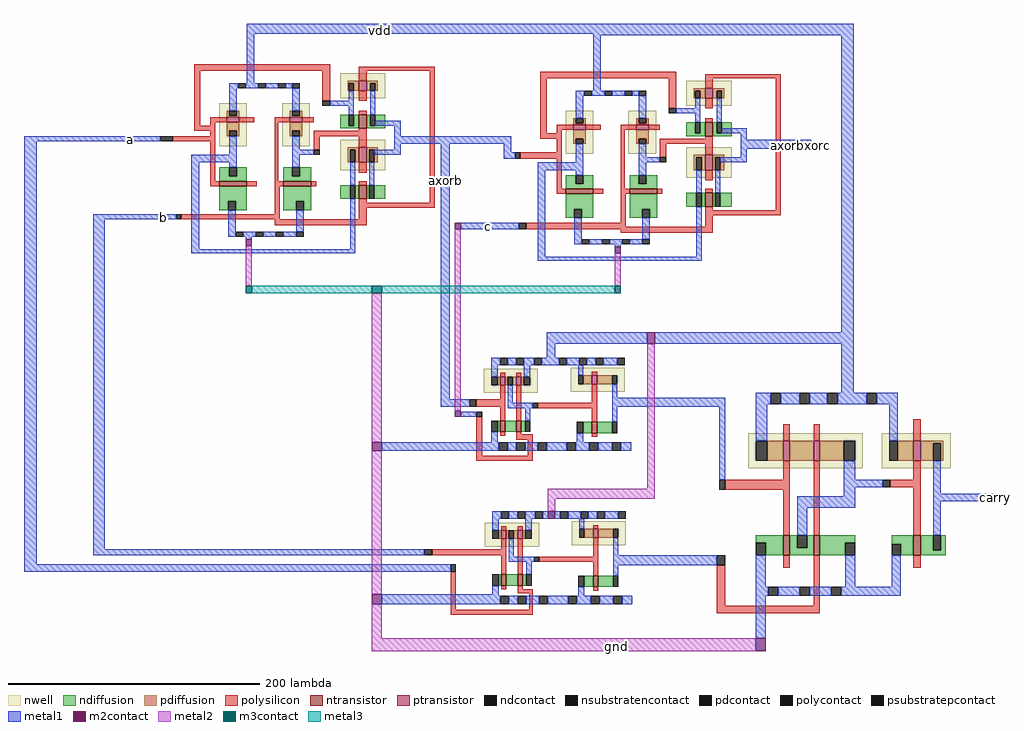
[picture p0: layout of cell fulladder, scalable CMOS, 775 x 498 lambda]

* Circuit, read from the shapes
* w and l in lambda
.subckt fulladder a axorb axorbxorc b c carry gnd vdd
M1 XOR_0/abar a gnd gnd nfet w=22 l=4
M2 XOR_0/bbar b gnd gnd nfet w=22 l=4
M3 axorb b XOR_0/abar gnd nfet w=11 l=6
M4 axorb XOR_0/bbar a gnd nfet w=11 l=6
M5 n1 axorb gnd gnd nfet w=9 l=4
M6 n2 b gnd gnd nfet w=9 l=4
M7 n3 c n1 gnd nfet w=9 l=4
M8 n4 a n2 gnd nfet w=9 l=4
M9 XOR_1/abar axorb gnd gnd nfet w=22 l=4
M10 or_0/a n3 gnd gnd nfet w=9 l=4
M11 or_0/b n4 gnd gnd nfet w=9 l=4
M12 XOR_1/bbar c gnd gnd nfet w=22 l=4
M13 axorbxorc c XOR_1/abar gnd nfet w=11 l=6
M14 axorbxorc XOR_1/bbar axorb gnd nfet w=11 l=6
M15 n5 or_0/a gnd gnd nfet w=16 l=5
M16 gnd or_0/b n5 gnd nfet w=16 l=5
M17 carry n5 gnd gnd nfet w=16 l=6
M18 vdd a XOR_0/abar n6 pfet w=10 l=4
M19 vdd b XOR_0/bbar n7 pfet w=10 l=4
M20 axorb XOR_0/bbar XOR_0/abar n8 pfet w=12 l=6
M21 axorb b a n9 pfet w=8 l=6
M22 n3 axorb vdd n10 pfet w=7 l=4
M23 n4 b vdd n11 pfet w=7 l=4
M24 vdd c n3 n10 pfet w=7 l=4
M25 vdd a n4 n11 pfet w=7 l=4
M26 vdd axorb XOR_1/abar n12 pfet w=10 l=4
M27 or_0/a n3 vdd n13 pfet w=7 l=4
M28 or_0/b n4 vdd n14 pfet w=7 l=4
M29 vdd c XOR_1/bbar n15 pfet w=10 l=4
M30 axorbxorc XOR_1/bbar XOR_1/abar n16 pfet w=12 l=6
M31 axorbxorc c axorb n17 pfet w=8 l=6
M32 n18 or_0/a vdd n19 pfet w=16 l=5
M33 n5 or_0/b n18 n19 pfet w=16 l=5
M34 carry n5 vdd n20 pfet w=16 l=6
.ends

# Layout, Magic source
magic
tech scmos
<< polysilicon >>
rect -46 103 -13 107
rect 230 89 263 94
rect -39 41 39 45
rect 235 33 314 38
rect 195 -108 217 -102
rect 195 -147 200 -116
rect 227 -134 240 -130
rect 236 -147 240 -134
rect 195 -151 240 -147
rect 393 -174 444 -166
rect 160 -226 218 -221
rect 175 -269 179 -239
rect 228 -256 240 -253
rect 237 -269 240 -256
rect 175 -273 240 -269
rect 386 -266 393 -234
rect 463 -266 468 -232
rect 386 -272 468 -266
<< polycontact >>
rect -56 103 -46 107
rect 226 89 230 94
rect -43 41 -39 45
rect 229 33 235 38
rect 190 -108 195 -102
rect 195 -116 200 -112
rect 388 -174 393 -166
rect 154 -226 160 -221
rect 175 -239 179 -233
rect 386 -234 393 -226
<< metal1 >>
rect 13 188 495 196
rect 13 145 19 188
rect 288 187 495 188
rect 288 139 294 187
rect -164 103 -56 107
rect -164 -233 -154 103
rect 130 101 223 107
rect -109 41 -43 45
rect -109 -221 -100 41
rect 12 25 17 31
rect 167 -102 174 101
rect 217 94 223 101
rect 405 97 461 104
rect 217 89 226 94
rect 183 33 229 38
rect 305 19 310 25
rect 485 -49 495 187
rect 251 -58 331 -49
rect 337 -58 495 -49
rect 251 -75 258 -58
rect 167 -108 190 -102
rect 303 -108 393 -101
rect 485 -106 495 -58
rect 183 -116 195 -112
rect 120 -143 212 -136
rect 388 -166 393 -108
rect 584 -183 611 -177
rect -109 -226 154 -221
rect -164 -239 175 -233
rect 304 -234 386 -226
rect 120 -265 213 -257
rect 417 -292 425 -251
<< m2contact >>
rect 12 20 17 25
rect 178 33 183 38
rect 305 14 310 19
rect 331 -58 337 -49
rect 178 -116 183 -111
rect 112 -143 120 -136
rect 252 -197 258 -191
rect 112 -265 120 -257
rect 417 -302 425 -292
<< metal2 >>
rect 12 -12 17 20
rect 112 -136 120 -18
rect 178 -111 183 33
rect 305 -12 310 14
rect 112 -257 120 -143
rect 331 -173 337 -58
rect 252 -181 337 -173
rect 252 -191 258 -181
rect 112 -292 120 -265
rect 112 -302 417 -292
<< m3contact >>
rect 12 -18 17 -12
rect 112 -18 120 -12
rect 305 -18 310 -12
<< metal3 >>
rect 17 -18 112 -12
rect 120 -18 305 -12
use XOR  XOR_0
transform 1 0 25 0 1 100
box -56 -86 137 64
use XOR  XOR_1
transform 1 0 300 0 1 94
box -56 -86 137 64
use and  and_0
transform 1 0 244 0 1 -105
box -43 -38 74 36
use and  and_1
transform 1 0 245 0 1 -227
box -43 -38 74 36
use or  or_0
transform 1 0 459 0 1 -258
box -48 0 125 161
<< labels >>
rlabel metal1 -54 42 -53 43 1 b
rlabel metal1 204 34 206 36 1 c
rlabel metal1 606 -181 609 -179 7 carry
rlabel metal1 118 190 120 192 5 vdd
rlabel metal2 305 -300 308 -297 1 gnd
rlabel metal1 170 71 172 72 1 axorb
rlabel metal1 452 99 453 100 1 axorbxorc
rlabel metal1 -80 104 -79 105 1 a
<< end >>

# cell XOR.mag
magic
tech scmos
<< nwell >>
rect 62 37 98 57
rect -34 -1 -12 33
rect 16 -1 38 33
rect 62 -20 98 4
<< ntransistor >>
rect 77 13 83 24
rect -34 -33 -12 -29
rect 17 -33 39 -29
rect 77 -43 83 -32
<< ptransistor >>
rect 77 43 83 51
rect -28 18 -18 22
rect 22 18 32 22
rect 77 -14 83 -2
<< ndiffusion >>
rect -34 -25 -26 -18
rect -20 -25 -12 -18
rect -34 -29 -12 -25
rect 62 15 69 24
rect 73 15 77 24
rect 62 13 77 15
rect 83 15 86 24
rect 90 15 98 24
rect 83 13 98 15
rect 17 -25 24 -18
rect 30 -25 39 -18
rect 17 -29 39 -25
rect -34 -45 -12 -33
rect -34 -52 -27 -45
rect -21 -52 -12 -45
rect 17 -45 39 -33
rect 62 -43 70 -32
rect 74 -43 77 -32
rect 83 -43 85 -32
rect 89 -43 98 -32
rect 17 -52 27 -45
rect 33 -52 39 -45
<< pdiffusion >>
rect 68 49 77 51
rect 68 43 69 49
rect 73 43 77 49
rect 83 49 92 51
rect 83 43 86 49
rect 90 43 92 49
rect -28 23 -26 27
rect -20 23 -18 27
rect -28 22 -18 23
rect 22 23 24 27
rect 30 23 32 27
rect 22 22 32 23
rect -28 11 -18 18
rect -28 7 -26 11
rect -20 7 -18 11
rect 22 11 32 18
rect 22 7 24 11
rect 30 7 32 11
rect 68 -4 77 -2
rect 68 -14 70 -4
rect 74 -14 77 -4
rect 83 -4 92 -2
rect 83 -14 85 -4
rect 89 -14 92 -4
<< ndcontact >>
rect -26 -25 -20 -18
rect 69 15 73 24
rect 86 15 90 24
rect 24 -25 30 -18
rect -27 -52 -21 -45
rect 70 -43 74 -32
rect 85 -43 89 -32
rect 27 -52 33 -45
<< pdcontact >>
rect 69 43 73 49
rect 86 43 90 49
rect -26 23 -20 27
rect 24 23 30 27
rect -26 7 -20 11
rect 24 7 30 11
rect 70 -14 74 -4
rect 85 -14 89 -4
<< psubstratepcontact >>
rect -21 -73 -15 -69
rect -5 -73 1 -69
rect 11 -73 17 -69
rect 27 -73 33 -69
<< nsubstratencontact >>
rect -19 45 -13 49
rect -3 45 3 49
rect 13 45 19 49
rect 24 45 30 49
<< polysilicon >>
rect -54 59 54 64
rect -54 15 -49 59
rect 48 35 54 59
rect 77 59 137 62
rect 77 51 83 59
rect 77 35 83 43
rect 77 24 83 27
rect -41 18 -28 22
rect -18 18 -6 22
rect 10 18 22 22
rect 32 18 41 22
rect -41 15 -37 18
rect -54 11 -37 15
rect -41 -29 -37 11
rect 10 -29 13 18
rect 77 11 83 13
rect 41 7 83 11
rect 41 -4 46 7
rect 77 -2 83 7
rect 77 -22 83 -14
rect -41 -33 -34 -29
rect -12 -33 -4 -29
rect 10 -33 17 -29
rect 39 -33 43 -29
rect 77 -32 83 -29
rect 10 -59 14 -33
rect 77 -46 83 -43
rect 133 -46 137 59
rect 77 -50 137 -46
rect 77 -59 83 -50
rect 10 -64 83 -59
<< polycontact >>
rect 48 31 54 35
rect 41 -8 46 -4
<< metal1 >>
rect -26 45 -19 49
rect -13 45 -3 49
rect 3 45 13 49
rect 19 45 24 49
rect -26 27 -20 45
rect 24 27 30 45
rect 69 35 73 43
rect 54 31 73 35
rect 69 24 73 31
rect 86 24 90 43
rect 90 15 110 19
rect -26 -8 -20 7
rect -56 -14 -20 -8
rect -56 -83 -50 -14
rect -26 -18 -20 -14
rect 24 -4 30 7
rect 105 -4 110 15
rect 24 -8 41 -4
rect 24 -18 30 -8
rect 70 -32 74 -14
rect 89 -8 110 -4
rect 85 -32 89 -14
rect -27 -73 -21 -52
rect 27 -69 33 -52
rect -15 -73 -5 -69
rect 1 -73 11 -69
rect 17 -73 27 -69
rect 70 -83 74 -43
rect -56 -86 74 -83
<< labels >>
rlabel polysilicon -40 -4 -39 -3 3 a
rlabel polysilicon 11 -5 12 -4 1 b
rlabel metal1 -24 -8 -23 -7 1 abar
rlabel metal1 27 -7 28 -6 1 bbar
rlabel metal1 14 47 15 48 5 vdd
rlabel metal1 12 -72 13 -71 1 gnd
rlabel metal1 106 6 107 7 1 out
<< end >>

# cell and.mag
magic
tech scmos
<< nwell >>
rect -43 8 0 27
rect 26 9 69 28
<< ntransistor >>
rect -30 -23 -26 -14
rect -17 -23 -13 -14
rect 43 -24 47 -15
<< ptransistor >>
rect -30 14 -26 21
rect -17 14 -13 21
rect 43 15 47 22
<< ndiffusion >>
rect -32 -23 -30 -14
rect -26 -23 -17 -14
rect -13 -23 -10 -14
rect 36 -24 43 -15
rect 47 -24 59 -15
<< pdiffusion >>
rect -32 14 -30 21
rect -26 14 -24 21
rect -20 14 -17 21
rect -13 14 -11 21
rect 36 15 43 22
rect 47 15 59 22
<< ndcontact >>
rect -37 -23 -32 -14
rect -10 -23 -6 -14
rect 31 -24 36 -15
rect 59 -24 63 -15
<< pdcontact >>
rect -37 14 -32 21
rect -24 14 -20 21
rect -11 14 -6 21
rect 32 15 36 22
rect 59 15 63 22
<< psubstratepcontact >>
rect -31 -38 -24 -31
rect -17 -38 -10 -31
rect 0 -38 7 -31
rect 23 -38 30 -31
rect 41 -38 48 -31
rect 59 -38 66 -31
<< nsubstratencontact >>
rect -30 30 -24 36
rect -17 30 -11 36
rect -3 30 3 36
rect 17 30 23 36
rect 33 30 39 36
rect 46 30 52 36
rect 63 30 69 36
<< polysilicon >>
rect -30 21 -26 24
rect -17 21 -13 24
rect 43 22 47 25
rect -30 -14 -26 14
rect -17 -14 -13 14
rect 43 0 47 15
rect 0 -4 47 0
rect 43 -15 47 -4
rect -30 -26 -26 -23
rect -17 -26 -13 -23
rect 43 -27 47 -24
<< polycontact >>
rect -4 -4 0 0
<< metal1 >>
rect -37 30 -30 36
rect -24 30 -17 36
rect -11 30 -3 36
rect 3 30 17 36
rect 23 30 33 36
rect 39 30 46 36
rect 52 30 63 36
rect -37 21 -32 30
rect -11 21 -6 30
rect 32 22 36 30
rect -24 0 -20 14
rect -24 -4 -4 0
rect -10 -14 -6 -4
rect 59 -15 63 15
rect -37 -31 -32 -23
rect 31 -31 36 -24
rect -37 -38 -31 -31
rect -24 -38 -17 -31
rect -10 -38 0 -31
rect 7 -38 23 -31
rect 30 -38 41 -31
rect 48 -38 59 -31
rect 66 -38 74 -31
<< labels >>
rlabel metal1 -33 32 -32 33 5 vdd
rlabel metal1 -34 -35 -33 -34 1 gnd
rlabel polysilicon -29 -4 -28 -3 1 a
rlabel polysilicon -15 2 -14 3 1 b
rlabel metal1 61 -2 62 -1 1 y
<< end >>

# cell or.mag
magic
tech scmos
<< nwell >>
rect -48 101 43 129
rect 58 101 113 129
<< ntransistor >>
rect -20 32 -15 48
rect 4 32 9 48
rect 83 32 89 48
<< ptransistor >>
rect -20 107 -15 123
rect 4 107 9 123
rect 83 107 89 123
<< ndiffusion >>
rect -42 42 -20 48
rect -34 32 -20 42
rect -15 38 -9 48
rect -1 38 4 48
rect -15 32 4 38
rect 9 42 37 48
rect 9 32 29 42
rect 66 41 83 48
rect 73 32 83 41
rect 89 36 99 48
rect 105 36 109 48
rect 89 32 109 36
<< pdiffusion >>
rect -33 107 -20 123
rect -15 107 4 123
rect 9 107 28 123
rect 71 107 83 123
rect 89 121 107 123
rect 89 107 99 121
rect 105 107 107 121
<< ndcontact >>
rect -42 32 -34 42
rect -9 38 -1 48
rect 29 32 37 42
rect 66 32 73 41
rect 99 36 105 48
<< pdcontact >>
rect -42 107 -33 123
rect 28 107 37 123
rect 64 107 71 123
rect 99 107 105 121
<< psubstratepcontact >>
rect -32 0 -24 7
rect -7 0 1 7
rect 18 0 26 7
<< nsubstratencontact >>
rect -30 152 -22 161
rect -7 152 1 161
rect 15 152 23 161
rect 46 152 54 161
<< polysilicon >>
rect -20 123 -15 136
rect 4 123 9 136
rect 83 123 89 140
rect -20 48 -15 107
rect 4 48 9 107
rect 83 92 89 107
rect 65 86 89 92
rect 83 48 89 86
rect -20 22 -15 32
rect 4 22 9 32
rect 83 22 89 32
<< polycontact >>
rect 59 86 65 92
<< metal1 >>
rect -42 152 -30 161
rect -22 152 -7 161
rect 1 152 15 161
rect 23 152 46 161
rect 54 152 71 161
rect -42 123 -33 152
rect 64 123 71 152
rect 28 92 37 107
rect 28 86 59 92
rect 28 79 37 86
rect -9 70 37 79
rect 99 81 105 107
rect 99 75 125 81
rect -9 48 -1 70
rect 99 48 105 75
rect -42 7 -34 32
rect 29 7 37 32
rect 66 7 73 32
rect -42 0 -32 7
rect -24 0 -7 7
rect 1 0 18 7
rect 26 0 73 7
<< labels >>
rlabel metal1 -12 155 -11 157 5 vdd
rlabel metal1 1 1 2 3 1 gnd
rlabel polysilicon -19 88 -18 90 1 a
rlabel polysilicon 5 88 6 90 1 b
rlabel metal1 115 77 116 79 1 y
<< end >>
